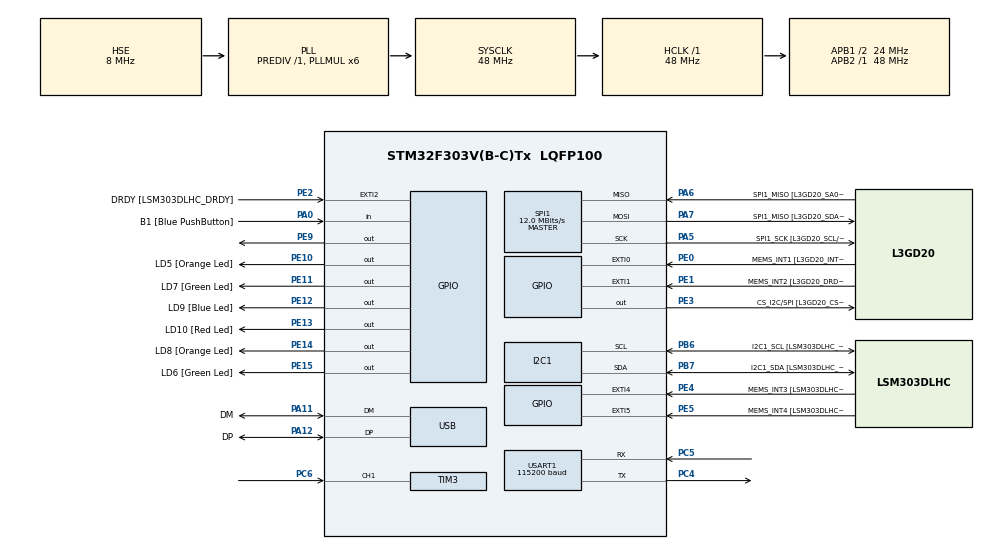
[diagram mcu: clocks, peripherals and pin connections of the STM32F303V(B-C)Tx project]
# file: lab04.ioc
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I2C1.Timing=0x00201D2B
I2C1.Timing-I2C=0x2000090E
Mcu.Family=STM32F3
Mcu.Name=STM32F303V(B-C)Tx
Mcu.Package=LQFP100
NVIC.PriorityGroup=NVIC_PRIORITYGROUP_0
NVIC.TIM2_IRQn=true\:0\:0\:false\:false\:true\:true\:true\:true
NVIC.TIM3_IRQn=true\:0\:0\:false\:false\:true\:true\:true\:true
NVIC.USB_LP_CAN_RX0_IRQn=true\:0\:0\:false\:false\:true\:false\:true\:true
PA0.GPIO_Label=B1 [Blue PushButton]
PA0.Signal=GPIO_Input
PA11.GPIO_Label=DM
PA11.Mode=Device
PA11.Signal=USB_DM
PA12.GPIO_Label=DP
PA12.Mode=Device
PA12.Signal=USB_DP
PA13.GPIO_Label=SWDIO
PA13.Mode=Serial_Wire
PA13.Signal=SYS_JTMS-SWDIO
PA14.GPIO_Label=SWCLK
PA14.Mode=Serial_Wire
PA14.Signal=SYS_JTCK-SWCLK
PA5.GPIO_Label=SPI1_SCK [L3GD20_SCL/SPC]
PA5.Mode=Full_Duplex_Master
PA5.Signal=SPI1_SCK
PA6.GPIO_Label=SPI1_MISO [L3GD20_SA0/SDO]
PA6.Mode=Full_Duplex_Master
PA6.Signal=SPI1_MISO
PA7.GPIO_Label=SPI1_MISO [L3GD20_SDA/SDI/SDO]
PA7.Mode=Full_Duplex_Master
PA7.Signal=SPI1_MOSI
PB3.GPIO_Label=SWO
PB3.Signal=SYS_JTDO-TRACESWO
PB6.GPIO_Label=I2C1_SCL [LSM303DLHC_SCL]
PB6.GPIO_Pu=GPIO_PULLUP
PB6.Mode=I2C
PB6.Signal=I2C1_SCL
PB7.GPIO_Label=I2C1_SDA [LSM303DLHC_SDA]
PB7.GPIO_Pu=GPIO_PULLUP
PB7.Mode=I2C
PB7.Signal=I2C1_SDA
PC14-OSC32_IN.GPIO_Label=OSC32_IN
PC14-OSC32_IN.Signal=RCC_OSC32_IN
PC15-OSC32_OUT.GPIO_Label=OSC32_OUT
PC15-OSC32_OUT.Signal=RCC_OSC32_OUT
PC4.Mode=Asynchronous
PC4.Signal=USART1_TX
PC5.Mode=Asynchronous
PC5.Signal=USART1_RX
PC6.Signal=S_TIM3_CH1
PE0.GPIO_Label=MEMS_INT1 [L3GD20_INT1]
PE0.GPIO_ModeDefaultEXTI=GPIO_MODE_EVT_RISING
PE0.Signal=GPXTI0
PE1.GPIO_Label=MEMS_INT2 [L3GD20_DRDY/INT2]
PE1.GPIO_ModeDefaultEXTI=GPIO_MODE_EVT_RISING
PE1.Signal=GPXTI1
PE10.GPIO_Label=LD5 [Orange Led]
PE10.Signal=GPIO_Output
PE11.GPIO_Label=LD7 [Green Led]
PE11.Signal=GPIO_Output
PE12.GPIO_Label=LD9 [Blue Led]
PE12.Signal=GPIO_Output
PE13.GPIO_Label=LD10 [Red Led]
PE13.Signal=GPIO_Output
PE14.GPIO_Label=LD8 [Orange Led]
PE14.Signal=GPIO_Output
PE15.GPIO_Label=LD6 [Green Led]
PE15.Signal=GPIO_Output
PE2.GPIO_Label=DRDY [LSM303DLHC_DRDY]
PE2.GPIO_ModeDefaultEXTI=GPIO_MODE_EVT_RISING
PE2.Signal=GPXTI2
PE3.GPIO_Label=CS_I2C/SPI [L3GD20_CS_I2C/SPI]
PE3.Signal=GPIO_Output
PE4.GPIO_Label=MEMS_INT3 [LSM303DLHC_INT1]
PE4.GPIO_ModeDefaultEXTI=GPIO_MODE_EVT_RISING
PE4.Signal=GPXTI4
PE5.GPIO_Label=MEMS_INT4 [LSM303DLHC_INT2]
PE5.GPIO_ModeDefaultEXTI=GPIO_MODE_EVT_RISING
PE5.Signal=GPXTI5
PE9.Signal=GPIO_Output
PF0-OSC_IN.GPIO_Label=OSC_IN
PF0-OSC_IN.Mode=HSE-External-Clock-Source
PF0-OSC_IN.Signal=RCC_OSC_IN
PF1-OSC_OUT.GPIO_Label=OSC_OUT
PF1-OSC_OUT.Signal=RCC_OSC_OUT
ProjectManager.HeapSize=0x200
ProjectManager.StackSize=0x400
ProjectManager.TargetToolchain=CMake
RCC.AHBFreq_Value=48000000
RCC.APB1CLKDivider=RCC_HCLK_DIV2
RCC.APB1Freq_Value=24000000
RCC.APB1TimFreq_Value=48000000
RCC.APB2Freq_Value=48000000
RCC.APB2TimFreq_Value=48000000
RCC.CortexFreq_Value=48000000
RCC.HCLKFreq_Value=48000000
RCC.HSE_VALUE=8000000
RCC.HSI_VALUE=8000000
RCC.LSE_VALUE=32768
RCC.PLLMUL=RCC_PLL_MUL6
RCC.SYSCLKFreq_VALUE=48000000
RCC.SYSCLKSourceVirtual=RCC_SYSCLKSOURCE_PLLCLK
RCC.USBFreq_Value=48000000
SH.S_TIM3_CH1.0=TIM3_CH1,Input_Capture1_from_TI1
SPI1.BaudRatePrescaler=SPI_BAUDRATEPRESCALER_4
SPI1.BaudRatePrescaler-Full_Duplex_Master=SPI_BAUDRATEPRESCALER_2
SPI1.CalculateBaudRate=12.0 MBits/s
SPI1.CalculateBaudRate-Full_Duplex_Master=24.0 MBits/s
SPI1.Direction=SPI_DIRECTION_2LINES
SPI1.Mode=SPI_MODE_MASTER
SPI1.Mode-Full_Duplex_Master=SPI_MODE_MASTER
SPI1.VirtualType=VM_MASTER
TIM2.Period=999
TIM2.Prescaler=47
TIM3.Channel-Input_Capture1_from_TI1=TIM_CHANNEL_1
TIM3.Prescaler=47
USART1.BaudRate=115200
USART1.VirtualMode-Asynchronous=VM_ASYNC
USB_DEVICE.CLASS_NAME_FS=CDC
USB_DEVICE.VirtualMode=Cdc
USB_DEVICE.VirtualModeFS=Cdc_FS
VP_TIM2_VS_ClockSourceINT.Mode=Internal
VP_USB_DEVICE_VS_USB_DEVICE_CDC_FS.Mode=CDC_FS
board=STM32F3DISCOVERY

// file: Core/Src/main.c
/* USER CODE BEGIN Header */
/**
  ******************************************************************************
  * @file           : main.c
  * @brief          : Main program body
  ******************************************************************************
  * @attention
  *
  * Copyright (c) 2026 STMicroelectronics.
  * All rights reserved.
  *
  * This software is licensed under terms that can be found in the LICENSE file
  * in the root directory of this software component.
  * If no LICENSE file comes with this software, it is provided AS-IS.
  *
  ******************************************************************************
  */
/* USER CODE END Header */
#include "main.h"
#include "usb_device.h"
#include <stdio.h>
# include <string.h>

/* USER CODE BEGIN Includes */
#include "stm32f3xx_hal_tim.h"

/* USER CODE END Includes */

I2C_HandleTypeDef hi2c1;

SPI_HandleTypeDef hspi1;

TIM_HandleTypeDef htim2;
TIM_HandleTypeDef htim3;

UART_HandleTypeDef huart1;

void SystemClock_Config(void);
static void MX_GPIO_Init(void);
static void MX_I2C1_Init(void);
static void MX_SPI1_Init(void);
static void MX_TIM2_Init(void);
static void MX_TIM3_Init(void);
static void MX_USART1_UART_Init(void);

/* USER CODE BEGIN 0 */
volatile uint32_t last_capture = 0;
volatile uint32_t current_period = 0;
volatile uint8_t first_capture = 1;   // skip the garbage first reading (edge detection)
volatile uint8_t data_ready = 0;  // tell main loop new data is available

void HAL_TIM_IC_CaptureCallback(TIM_HandleTypeDef *htim) {
    if (htim->Channel == HAL_TIM_ACTIVE_CHANNEL_1) {
        uint32_t current_capture = HAL_TIM_ReadCapturedValue(htim, TIM_CHANNEL_1);
        if (first_capture) {                  // Fresh Input so we are not comparing yet
            last_capture = current_capture;
            first_capture = 0;
        } else {
            if (current_capture >= last_capture) {
                current_period = current_capture - last_capture;
            } else {
                // counter wrapped around past 65535 back to 0 because it might read 65530 and the next value occured
                // at 5 so the period is 65535 - 65530 + 5 + 1 = 11
                current_period = (65535 - last_capture) + current_capture + 1;
            }
            last_capture = current_capture;
            data_ready = 1;   // tell main a fresh period value is ready
        }
    }
}
/* USER CODE END 0 */

int main(void)
{

  /* MCU Configuration--------------------------------------------------------*/

  /* Reset of all peripherals, Initializes the Flash interface and the Systick. */
  HAL_Init();

  /* Configure the system clock */
  SystemClock_Config();

  /* Initialize all configured peripherals */
  MX_GPIO_Init();
  MX_I2C1_Init();
  MX_SPI1_Init();
  MX_TIM2_Init();
  MX_TIM3_Init();
  MX_USART1_UART_Init();
  MX_USB_DEVICE_Init();

  /* Infinite loop */
  /* USER CODE BEGIN WHILE */
HAL_TIM_IC_Start_IT(&htim3, TIM_CHANNEL_1);
  while (1) {
      if (data_ready) {
          data_ready = 0;
          float frequency_hz = 1000000.0f / current_period;
          char msg[64];
          int len = sprintf(msg, "Period: %lu ticks | Frequency: %.2f Hz\r\n", current_period, frequency_hz);
          HAL_UART_Transmit(&huart1, (uint8_t*)msg, len, HAL_MAX_DELAY);
          HAL_Delay(200);
      }
  }
  /* USER CODE END 3 */
}

void SystemClock_Config(void)
{
  RCC_OscInitTypeDef RCC_OscInitStruct = {0};
  RCC_ClkInitTypeDef RCC_ClkInitStruct = {0};
  RCC_PeriphCLKInitTypeDef PeriphClkInit = {0};

  /** Initializes the RCC Oscillators according to the specified parameters
  * in the RCC_OscInitTypeDef structure.
  */
  RCC_OscInitStruct.OscillatorType = RCC_OSCILLATORTYPE_HSI|RCC_OSCILLATORTYPE_HSE;
  RCC_OscInitStruct.HSEState = RCC_HSE_BYPASS;
  RCC_OscInitStruct.HSEPredivValue = RCC_HSE_PREDIV_DIV1;
  RCC_OscInitStruct.HSIState = RCC_HSI_ON;
  RCC_OscInitStruct.HSICalibrationValue = RCC_HSICALIBRATION_DEFAULT;
  RCC_OscInitStruct.PLL.PLLState = RCC_PLL_ON;
  RCC_OscInitStruct.PLL.PLLSource = RCC_PLLSOURCE_HSE;
  RCC_OscInitStruct.PLL.PLLMUL = RCC_PLL_MUL6;
  if (HAL_RCC_OscConfig(&RCC_OscInitStruct) != HAL_OK)
  {
    Error_Handler();
  }

  /** Initializes the CPU, AHB and APB buses clocks
  */
  RCC_ClkInitStruct.ClockType = RCC_CLOCKTYPE_HCLK|RCC_CLOCKTYPE_SYSCLK
                              |RCC_CLOCKTYPE_PCLK1|RCC_CLOCKTYPE_PCLK2;
  RCC_ClkInitStruct.SYSCLKSource = RCC_SYSCLKSOURCE_PLLCLK;
  RCC_ClkInitStruct.AHBCLKDivider = RCC_SYSCLK_DIV1;
  RCC_ClkInitStruct.APB1CLKDivider = RCC_HCLK_DIV2;
  RCC_ClkInitStruct.APB2CLKDivider = RCC_HCLK_DIV1;

  if (HAL_RCC_ClockConfig(&RCC_ClkInitStruct, FLASH_LATENCY_1) != HAL_OK)
  {
    Error_Handler();
  }
  PeriphClkInit.PeriphClockSelection = RCC_PERIPHCLK_USB|RCC_PERIPHCLK_USART1
                              |RCC_PERIPHCLK_I2C1;
  PeriphClkInit.Usart1ClockSelection = RCC_USART1CLKSOURCE_PCLK2;
  PeriphClkInit.I2c1ClockSelection = RCC_I2C1CLKSOURCE_HSI;
  PeriphClkInit.USBClockSelection = RCC_USBCLKSOURCE_PLL;
  if (HAL_RCCEx_PeriphCLKConfig(&PeriphClkInit) != HAL_OK)
  {
    Error_Handler();
  }
}

static void MX_I2C1_Init(void)
{

  hi2c1.Instance = I2C1;
  hi2c1.Init.Timing = 0x00201D2B;
  hi2c1.Init.OwnAddress1 = 0;
  hi2c1.Init.AddressingMode = I2C_ADDRESSINGMODE_7BIT;
  hi2c1.Init.DualAddressMode = I2C_DUALADDRESS_DISABLE;
  hi2c1.Init.OwnAddress2 = 0;
  hi2c1.Init.OwnAddress2Masks = I2C_OA2_NOMASK;
  hi2c1.Init.GeneralCallMode = I2C_GENERALCALL_DISABLE;
  hi2c1.Init.NoStretchMode = I2C_NOSTRETCH_DISABLE;
  if (HAL_I2C_Init(&hi2c1) != HAL_OK)
  {
    Error_Handler();
  }

  /** Configure Analogue filter
  */
  if (HAL_I2CEx_ConfigAnalogFilter(&hi2c1, I2C_ANALOGFILTER_ENABLE) != HAL_OK)
  {
    Error_Handler();
  }

  /** Configure Digital filter
  */
  if (HAL_I2CEx_ConfigDigitalFilter(&hi2c1, 0) != HAL_OK)
  {
    Error_Handler();
  }

}

static void MX_SPI1_Init(void)
{

  /* SPI1 parameter configuration*/
  hspi1.Instance = SPI1;
  hspi1.Init.Mode = SPI_MODE_MASTER;
  hspi1.Init.Direction = SPI_DIRECTION_2LINES;
  hspi1.Init.DataSize = SPI_DATASIZE_4BIT;
  hspi1.Init.CLKPolarity = SPI_POLARITY_LOW;
  hspi1.Init.CLKPhase = SPI_PHASE_1EDGE;
  hspi1.Init.NSS = SPI_NSS_SOFT;
  hspi1.Init.BaudRatePrescaler = SPI_BAUDRATEPRESCALER_4;
  hspi1.Init.FirstBit = SPI_FIRSTBIT_MSB;
  hspi1.Init.TIMode = SPI_TIMODE_DISABLE;
  hspi1.Init.CRCCalculation = SPI_CRCCALCULATION_DISABLE;
  hspi1.Init.CRCPolynomial = 7;
  hspi1.Init.CRCLength = SPI_CRC_LENGTH_DATASIZE;
  hspi1.Init.NSSPMode = SPI_NSS_PULSE_ENABLE;
  if (HAL_SPI_Init(&hspi1) != HAL_OK)
  {
    Error_Handler();
  }

}

static void MX_TIM2_Init(void)
{

  TIM_ClockConfigTypeDef sClockSourceConfig = {0};
  TIM_MasterConfigTypeDef sMasterConfig = {0};

  htim2.Instance = TIM2;
  htim2.Init.Prescaler = 47;
  htim2.Init.CounterMode = TIM_COUNTERMODE_UP;
  htim2.Init.Period = 999;
  htim2.Init.ClockDivision = TIM_CLOCKDIVISION_DIV1;
  htim2.Init.AutoReloadPreload = TIM_AUTORELOAD_PRELOAD_DISABLE;
  if (HAL_TIM_Base_Init(&htim2) != HAL_OK)
  {
    Error_Handler();
  }
  sClockSourceConfig.ClockSource = TIM_CLOCKSOURCE_INTERNAL;
  if (HAL_TIM_ConfigClockSource(&htim2, &sClockSourceConfig) != HAL_OK)
  {
    Error_Handler();
  }
  sMasterConfig.MasterOutputTrigger = TIM_TRGO_RESET;
  sMasterConfig.MasterSlaveMode = TIM_MASTERSLAVEMODE_DISABLE;
  if (HAL_TIMEx_MasterConfigSynchronization(&htim2, &sMasterConfig) != HAL_OK)
  {
    Error_Handler();
  }

}

static void MX_TIM3_Init(void)
{

  TIM_MasterConfigTypeDef sMasterConfig = {0};
  TIM_IC_InitTypeDef sConfigIC = {0};

  htim3.Instance = TIM3;
  htim3.Init.Prescaler = 47;
  htim3.Init.CounterMode = TIM_COUNTERMODE_UP;
  htim3.Init.Period = 65535;
  htim3.Init.ClockDivision = TIM_CLOCKDIVISION_DIV1;
  htim3.Init.AutoReloadPreload = TIM_AUTORELOAD_PRELOAD_DISABLE;
  if (HAL_TIM_IC_Init(&htim3) != HAL_OK)
  {
    Error_Handler();
  }
  sMasterConfig.MasterOutputTrigger = TIM_TRGO_RESET;
  sMasterConfig.MasterSlaveMode = TIM_MASTERSLAVEMODE_DISABLE;
  if (HAL_TIMEx_MasterConfigSynchronization(&htim3, &sMasterConfig) != HAL_OK)
  {
    Error_Handler();
  }
  sConfigIC.ICPolarity = TIM_INPUTCHANNELPOLARITY_RISING;
  sConfigIC.ICSelection = TIM_ICSELECTION_DIRECTTI;
  sConfigIC.ICPrescaler = TIM_ICPSC_DIV1;
  sConfigIC.ICFilter = 0;
  if (HAL_TIM_IC_ConfigChannel(&htim3, &sConfigIC, TIM_CHANNEL_1) != HAL_OK)
  {
    Error_Handler();
  }

}

static void MX_USART1_UART_Init(void)
{

  huart1.Instance = USART1;
  huart1.Init.BaudRate = 115200;
  huart1.Init.WordLength = UART_WORDLENGTH_8B;
  huart1.Init.StopBits = UART_STOPBITS_1;
  huart1.Init.Parity = UART_PARITY_NONE;
  huart1.Init.Mode = UART_MODE_TX_RX;
  huart1.Init.HwFlowCtl = UART_HWCONTROL_NONE;
  huart1.Init.OverSampling = UART_OVERSAMPLING_16;
  huart1.Init.OneBitSampling = UART_ONE_BIT_SAMPLE_DISABLE;
  huart1.AdvancedInit.AdvFeatureInit = UART_ADVFEATURE_NO_INIT;
  if (HAL_UART_Init(&huart1) != HAL_OK)
  {
    Error_Handler();
  }

}

static void MX_GPIO_Init(void)
{
  GPIO_InitTypeDef GPIO_InitStruct = {0};

  /* GPIO Ports Clock Enable */
  __HAL_RCC_GPIOE_CLK_ENABLE();
  __HAL_RCC_GPIOC_CLK_ENABLE();
  __HAL_RCC_GPIOF_CLK_ENABLE();
  __HAL_RCC_GPIOA_CLK_ENABLE();
  __HAL_RCC_GPIOB_CLK_ENABLE();

  /*Configure GPIO pin Output Level */
  HAL_GPIO_WritePin(GPIOE, CS_I2C_SPI_Pin|GPIO_PIN_9|LD5_Pin|LD7_Pin
                          |LD9_Pin|LD10_Pin|LD8_Pin|LD6_Pin, GPIO_PIN_RESET);

  /*Configure GPIO pins : DRDY_Pin MEMS_INT3_Pin MEMS_INT4_Pin MEMS_INT1_Pin
                           MEMS_INT2_Pin */
  GPIO_InitStruct.Pin = DRDY_Pin|MEMS_INT3_Pin|MEMS_INT4_Pin|MEMS_INT1_Pin
                          |MEMS_INT2_Pin;
  GPIO_InitStruct.Mode = GPIO_MODE_EVT_RISING;
  GPIO_InitStruct.Pull = GPIO_NOPULL;
  HAL_GPIO_Init(GPIOE, &GPIO_InitStruct);

  /*Configure GPIO pins : CS_I2C_SPI_Pin PE9 LD5_Pin LD7_Pin
                           LD9_Pin LD10_Pin LD8_Pin LD6_Pin */
  GPIO_InitStruct.Pin = CS_I2C_SPI_Pin|GPIO_PIN_9|LD5_Pin|LD7_Pin
                          |LD9_Pin|LD10_Pin|LD8_Pin|LD6_Pin;
  GPIO_InitStruct.Mode = GPIO_MODE_OUTPUT_PP;
  GPIO_InitStruct.Pull = GPIO_NOPULL;
  GPIO_InitStruct.Speed = GPIO_SPEED_FREQ_LOW;
  HAL_GPIO_Init(GPIOE, &GPIO_InitStruct);

  /*Configure GPIO pin : B1_Pin */
  GPIO_InitStruct.Pin = B1_Pin;
  GPIO_InitStruct.Mode = GPIO_MODE_INPUT;
  GPIO_InitStruct.Pull = GPIO_NOPULL;
  HAL_GPIO_Init(B1_GPIO_Port, &GPIO_InitStruct);

}

void Error_Handler(void)
{
  __disable_irq();
  while (1)
  {
  }
}
